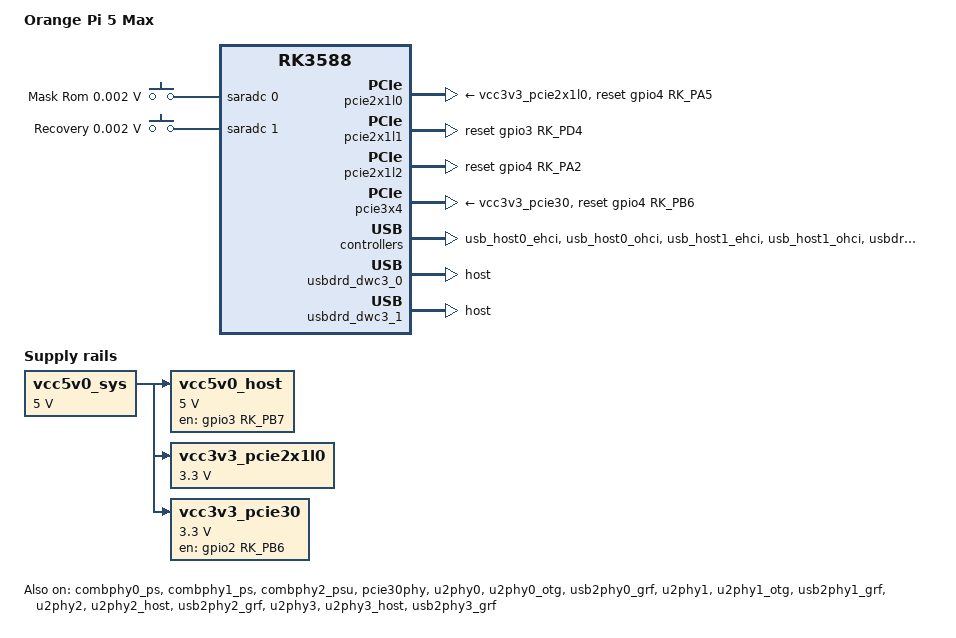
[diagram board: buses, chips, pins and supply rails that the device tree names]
// SPDX-License-Identifier: (GPL-2.0+ OR MIT)
/*
 * Copyright (c) 2021 Rockchip Electronics Co., Ltd
 *
 */

/dts-v1/;
#include "rk3588.dtsi"
#include "rk3588-u-boot.dtsi"
#include <dt-bindings/input/input.h>

/ {
	model = "Orange Pi 5 Max";
	compatible = "xunlong,orangepi-5-max", "rockchip,rk3588";

	adc-keys {
		compatible = "adc-keys";
		io-channels = <&saradc 0>;
		io-channel-names = "buttons";
		keyup-threshold-microvolt = <1800000>;
		poll-interval = <100>;

		button-maskrom {
			label = "Mask Rom";
			linux,code = <KEY_SETUP>;
			press-threshold-microvolt = <2000>;
		};
	};

	adc-keys-1 {
		compatible = "adc-keys";
		io-channels = <&saradc 1>;
		io-channel-names = "buttons";
		keyup-threshold-microvolt = <1800000>;
		poll-interval = <100>;

		button-recovery {
			label = "Recovery";
			linux,code = <KEY_VENDOR>;
			press-threshold-microvolt = <2000>;
		};
	};

	vcc5v0_sys: vcc5v0-sys {
		u-boot,dm-pre-reloc;
		compatible = "regulator-fixed";
		regulator-name = "vcc5v0_sys";
		regulator-always-on;
		regulator-boot-on;
		regulator-min-microvolt = <5000000>;
		regulator-max-microvolt = <5000000>;
	};

	vcc5v0_host: vcc5v0-host {
		u-boot,dm-pre-reloc;
		compatible = "regulator-fixed";
		regulator-name = "vcc5v0_host";
		regulator-boot-on;
		regulator-always-on;
		regulator-min-microvolt = <5000000>;
		regulator-max-microvolt = <5000000>;
		enable-active-high;
		gpio = <&gpio3 RK_PB7 GPIO_ACTIVE_HIGH>;
		vin-supply = <&vcc5v0_sys>;
	};

	vcc3v3_pcie2x1l0: vcc3v3-pcie2x1l0 {
		u-boot,dm-pre-reloc;
		compatible = "regulator-fixed";
		regulator-name = "vcc3v3_pcie2x1l0";
		regulator-min-microvolt = <3300000>;
		regulator-max-microvolt = <3300000>;
		enable-active-high;
		//gpios = <&gpio2 RK_PC5 GPIO_ACTIVE_HIGH>;
		startup-delay-us = <50000>;
		vin-supply = <&vcc5v0_sys>;
	};

	vcc3v3_pcie30: vcc3v3-pcie30 {
		u-boot,dm-pre-reloc;
		compatible = "regulator-fixed";
		regulator-name = "vcc3v3_pcie30";
		regulator-min-microvolt = <3300000>;
		regulator-max-microvolt = <3300000>;
		enable-active-high;
		gpio = <&gpio2 RK_PB6 GPIO_ACTIVE_HIGH>;
		regulator-boot-on;
		regulator-always-on;
		vin-supply = <&vcc5v0_sys>;
	};
};

&combphy0_ps {
	u-boot,dm-pre-reloc;
	status = "okay";
};

&combphy1_ps {
	u-boot,dm-pre-reloc;
	status = "okay";
};

&combphy2_psu {
	u-boot,dm-pre-reloc;
	status = "okay";
};

&pcie2x1l0 {
	u-boot,dm-pre-reloc;
	reset-gpios = <&gpio4 RK_PA5 GPIO_ACTIVE_HIGH>;
	vpcie3v3-supply = <&vcc3v3_pcie2x1l0>;
	rockchip,skip-scan-in-resume;
	status = "okay";
};


&pcie2x1l1 {
	u-boot,dm-pre-reloc;
	reset-gpios = <&gpio3 RK_PD4 GPIO_ACTIVE_HIGH>;
	status = "okay";
};

//phy0
&pcie2x1l2 {
	u-boot,dm-pre-reloc;
	reset-gpios = <&gpio4 RK_PA2 GPIO_ACTIVE_HIGH>;
	status = "okay";
};

&pcie30phy {
	u-boot,dm-pre-reloc;
	rockchip,pcie30-phymode = <PHY_MODE_PCIE_AGGREGATION>;
	status = "okay";
};

&pcie3x4 {
	u-boot,dm-pre-reloc;
	reset-gpios = <&gpio4 RK_PB6 GPIO_ACTIVE_HIGH>;
	vpcie3v3-supply = <&vcc3v3_pcie30>;
	status = "okay";
};

&u2phy0 {
	u-boot,dm-pre-reloc;
	status = "okay";
};

&u2phy0_otg {
	u-boot,dm-pre-reloc;
	status = "okay";
};

&usb2phy0_grf {
	u-boot,dm-pre-reloc;
	status = "okay";
};

&u2phy1 {
	u-boot,dm-pre-reloc;
	status = "okay";
};

&u2phy1_otg {
	u-boot,dm-pre-reloc;
	status = "okay";
};

&usb2phy1_grf {
	u-boot,dm-pre-reloc;
	status = "okay";
};

&u2phy2 {
	u-boot,dm-pre-reloc;
	status = "okay";
};

&u2phy2_host {
	u-boot,dm-pre-reloc;
	status = "okay";
};

&usb2phy2_grf {
	u-boot,dm-pre-reloc;
	status = "okay";
};

&u2phy3 {
	u-boot,dm-pre-reloc;
	status = "okay";
};

&u2phy3_host {
	u-boot,dm-pre-reloc;
	status = "okay";
};

&usb2phy3_grf {
	u-boot,dm-pre-reloc;
	status = "okay";
};

&usb_host0_ehci {
	u-boot,dm-pre-reloc;
	status = "okay";
};

&usb_host0_ohci {
	u-boot,dm-pre-reloc;
	status = "okay";
};

&usb_host1_ehci {
	u-boot,dm-pre-reloc;
	status = "okay";
};

&usb_host1_ohci {
	u-boot,dm-pre-reloc;
	status = "okay";
};

&usbdrd3_0 {
	u-boot,dm-pre-reloc;
	status = "okay";
};

&usbdrd_dwc3_0 {
	u-boot,dm-pre-reloc;
	dr_mode = "host";
	status = "okay";
};

&usbdrd3_1 {
	u-boot,dm-pre-reloc;
	status = "okay";
};

&usbdrd_dwc3_1 {
	u-boot,dm-pre-reloc;
	dr_mode = "host";
	status = "okay";
};

&sfc {
	pinctrl-names = "default";
	pinctrl-0 = <&fspim2_pins &fspim2_cs1>;
};
